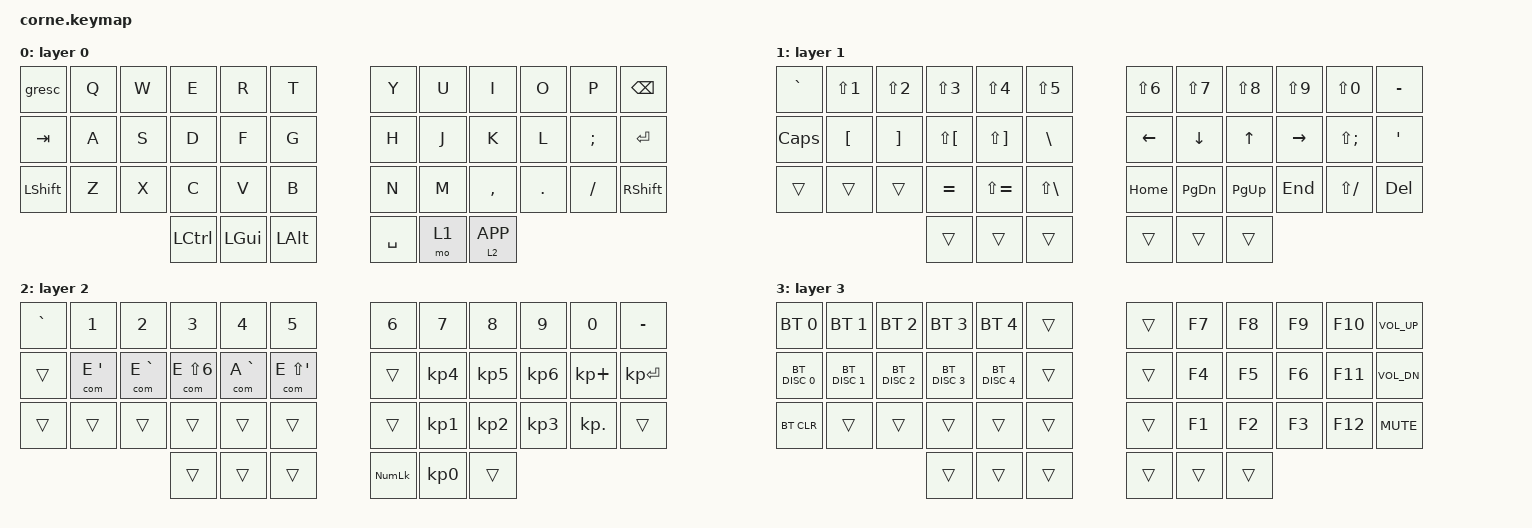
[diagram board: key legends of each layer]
/*
 * Copyright (c) 2020 The ZMK Contributors
 *
 * SPDX-License-Identifier: MIT
 */

#include <behaviors.dtsi>
#include <dt-bindings/zmk/keys.h>
#include <dt-bindings/zmk/bt.h>

/ {
  combos {
    compatible = "zmk,combos";
    combo_layer3 {
      timeout-ms = <1000>;
      key-positions = <37 40>;
      bindings = <&mo 3>;
    };
  };
  macros {
    com: com {
      compatible = "zmk,behavior-macro-two-param";
      #binding-cells = <2>;
      wait-ms = <40>;
      tap-ms = <40>;
      bindings = <&kp K_APP &macro_param_1to1 &kp MACRO_PLACEHOLDER &macro_param_2to1 &kp MACRO_PLACEHOLDER>;
    };
  };
  behaviors {
gresc: grave_escape {
         compatible = "zmk,behavior-mod-morph";
#binding-cells = <0>;
         bindings = <&kp ESC>, <&kp TILDE>;
         mods = <(MOD_LGUI|MOD_LSFT|MOD_RGUI|MOD_RSFT)>;
       };
  };
  keymap {
    compatible = "zmk,keymap";

    layer_0 {
      label = "layer 0";
      bindings = <
        &gresc    &kp Q &kp W &kp E &kp R &kp T               &kp Y &kp U  &kp I     &kp O   &kp P    &kp BSPC
        &kp TAB   &kp A &kp S &kp D &kp F &kp G               &kp H &kp J  &kp K     &kp L   &kp SEMI &kp RET
        &kp LSHFT &kp Z &kp X &kp C &kp V &kp B               &kp N &kp M  &kp COMMA &kp DOT &kp FSLH &kp RSHFT
                          &kp LCTRL &kp LGUI &kp LALT      &kp SPACE &mo 1 &lt 2 K_APP
        >;
    };
    layer_1 {
      label = "layer 1";
      bindings = <
        &kp GRAVE &kp LS(N1) &kp LS(N2) &kp LS(N3)   &kp LS(N4)    &kp LS(N5)        &kp LS(N6) &kp LS(N7) &kp LS(N8) &kp LS(N9) &kp LS(N0)    &kp MINUS
        &kp CAPS  &kp LBKT   &kp RBKT   &kp LS(LBKT) &kp LS(RBKT)  &kp BSLH          &kp LEFT   &kp DOWN   &kp UP     &kp RIGHT  &kp LS(SEMI)  &kp SQT
        &trans    &trans     &trans     &kp EQUAL    &kp LS(EQUAL) &kp LS(BSLH)      &kp HOME   &kp PG_DN  &kp PG_UP  &kp END    &kp LS(SLASH) &kp DEL
                                        &trans       &trans        &trans            &trans     &trans     &trans
        >;
    };

    layer_2 {
      label = "layer 2";
      bindings = <
        &kp GRAVE &kp N1     &kp N2        &kp N3        &kp N4       &kp N5             &kp N6     &kp N7    &kp N8    &kp N9    &kp N0      &kp MINUS
        &trans    &com E SQT &com E GRAVE  &com E LS(N6) &com A GRAVE &com E LS(SQT)     &trans     &kp KP_N4 &kp KP_N5 &kp KP_N6 &kp KP_PLUS &kp KP_ENTER
        &trans    &trans     &trans        &trans        &trans       &trans             &trans     &kp KP_N1 &kp KP_N2 &kp KP_N3 &kp KP_DOT  &trans
                                           &trans        &trans       &trans             &kp KP_NUM &kp KP_N0 &trans
        >;
    };

    layer_3 {
      label = "layer 3";
      bindings = <
        &bt BT_SEL  0 &bt BT_SEL  1 &bt BT_SEL  2 &bt BT_SEL  3 &bt BT_SEL  4 &trans          &trans &kp F7 &kp F8 &kp F9 &kp F10 &kp C_VOL_UP
        &bt BT_DISC 0 &bt BT_DISC 1 &bt BT_DISC 2 &bt BT_DISC 3 &bt BT_DISC 4 &trans          &trans &kp F4 &kp F5 &kp F6 &kp F11 &kp C_VOL_DN
        &bt BT_CLR    &trans        &trans        &trans        &trans        &trans          &trans &kp F1 &kp F2 &kp F3 &kp F12 &kp C_MUTE
                                           &trans        &trans       &trans             &trans &trans &trans
        >;

    };
  };
};
